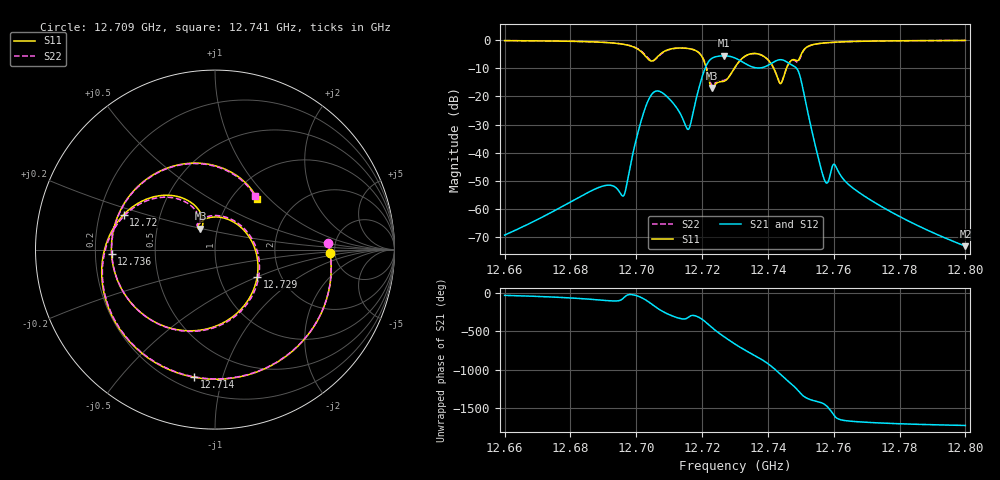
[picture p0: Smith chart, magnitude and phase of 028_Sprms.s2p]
! TOUCHSTONE file generated by CST MICROWAVE STUDIO
! Date and time: Wed Jul 31 12:03:55 2024
! Project name: WaveGuide_BPF-Ver4.1_U-shape_Ku_T3_C4_CWA_2.cst
! Parameters = {cavity_h=16; cavity_l0=10; cavity_l1=15.2102; cavity_l2=16.8559; cavity_l3=17.1291; cavity_l4=17.2778; cavity_l5=17.1024; cavity_l6=17.5647; cavity_r=2.5; cavity_screw_l=0.5; cavity_screw_r=1.5; cavity_w=8; iris_h00=0; iris_h01=8.839; iris_h112=0; iris_h12=5.6024; iris_h211=3.6598; i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
! Header version: 2018
! Port assignment regex: !\s*Touchstone port\s*([0-9]+)\s*=\s*(CST MWS port|CST DS port)\s*([0-9]+|Zmin|Zmax)\s*\(\"(.*)\"\)(\s*mode\s*([0-9]+))?.*
! Touchstone port assignment:
! Touchstone port 1 = CST MWS port 1 ("")
! Touchstone port 2 = CST MWS port 2 ("")
# GHz S RI R 50
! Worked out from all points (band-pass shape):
!   5001 points, 12.66 GHz to 12.8 GHz, reference 50 ohm
!   highest |S21| = -5.60 dB at 12.727 GHz (marker M1); lowest = -73.2 dB at 12.8 GHz (marker M2)
!   |S21| within 3 dB of the highest: 12.72148 GHz to 12.73347 GHz (12 MHz wide, 0.0942 % of centre); 12.7406 GHz to 12.74685 GHz (6.258 MHz wide, 0.0491 % of centre)
!   lowest |S11| = -17.0 dB at 12.723 GHz (marker M3), VSWR 1.33, Z = 41.5 + j9.82 ohm
!   |S11| at or under -10 dB: 12.72128 GHz to 12.7298 GHz (8.522 MHz wide, 0.067 % of centre); 12.74176 GHz to 12.74564 GHz (3.88 MHz wide, 0.0304 % of centre)
!   |S22| runs from -15.9 to -0.1 dB; largest |S21 - S12| = 1e-09
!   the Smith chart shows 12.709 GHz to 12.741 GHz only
!   S11 on the Smith chart (normalised r, x): 12.709 GHz: 4.56, -0.29; 12.714 GHz: 0.27, -0.81; 12.72 GHz: 0.30, +0.17; 12.729 GHz: 1.52, -0.50; 12.736 GHz: 0.27, -0.02; 12.741 GHz: 1.30, +0.85
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12.66  0.4458 0.8689  0.000295 -0.00018  0.000295 -0.00018  0.4453 0.8694
12.68335  0.8772 0.3418  0.000479 -0.00165  0.000479 -0.00165  0.8751 0.349
12.69606  0.6428 -0.543  0.000624 -0.00159  0.000624 -0.00159  0.6589 -0.5287
12.69962  0.1286 -0.7227  0.0123 -0.00698  0.0123 -0.00698  0.1627 -0.7241
12.70337  -0.4693 -0.0726  -0.0207 -0.0754  -0.0207 -0.0754  -0.4718 -0.1335
12.70668  0.3145 0.4131  -0.1123 0.0537  -0.1123 0.0537  0.2545 0.4381
12.70878  0.6412 -0.019  -0.0224 0.1037  -0.0224 0.1037  0.6313 0.0346
12.71435  -0.1144 -0.7116  0.035 0.0133  0.035 0.0133  -0.0769 -0.7152
12.71961  -0.5088 0.1945  0.1634 0.0872  0.1634 0.0872  -0.5263 0.1656
12.72303  -0.0809 0.1161  -0.022 -0.4761  -0.022 -0.4761  -0.0909 0.1316
12.72667  0.108 0.151  -0.4545 0.2624  -0.4545 0.2624  0.1005 0.1638
12.72924  0.2351 -0.1512  0.1297 0.4817  0.1297 0.4817  0.2465 -0.1269
12.73  0.193 -0.2676  0.2839 0.3875  0.2839 0.3875  0.2127 -0.2469
12.73554  -0.5764 -0.0255  0.0367 -0.327  0.0367 -0.327  -0.5731 -0.0473
12.74112  0.2348 0.2847  -0.205 0.3286  -0.205 0.3286  0.2222 0.2973
12.74431  0.1737 0.0608  0.4458 0.000201  0.4458 0.000201  0.1738 0.067
12.74649  0.3907 -0.0707  0.0473 -0.38  0.0473 -0.38  0.3879 -0.064
12.7489  0.3005 -0.3059  -0.3047 -0.00384  -0.3047 -0.00384  0.2888 -0.2877
12.75335  0.0489 -0.8185  0.0177 0.0169  0.0177 0.0169  0.0699 -0.8126
12.75758  -0.4166 -0.7907  0.00274 -0.00114  0.00274 -0.00114  -0.4047 -0.7947
12.77668  -0.9607 -0.1069  -0.000179 0.000924  -0.000179 0.000924  -0.9603 -0.1074
12.8  -0.9266 0.3289  6.25e-05 0.000211  6.25e-05 0.000211  -0.9256 0.3314
